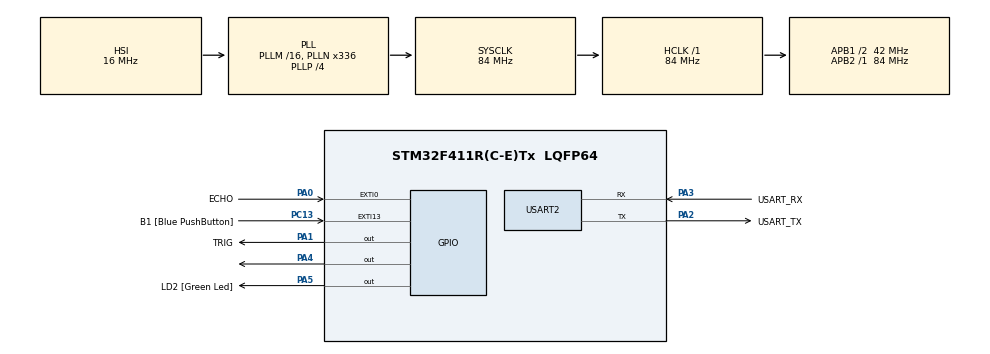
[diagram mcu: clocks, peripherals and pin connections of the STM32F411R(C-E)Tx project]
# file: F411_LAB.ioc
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FREERTOS.Mutexes01=myMutex01,Dynamic,NULL,Available
FREERTOS.Tasks01=defaultTask,24,128,StartDefaultTask,Default,NULL,Dynamic,NULL,NULL;myTask02,17,256,StartUltrasonicTask,Default,NULL,Dynamic,NULL,NULL;myTask03,25,256,StartDhtTask,Default,NULL,Dynamic,NULL,NULL
FREERTOS.configTOTAL_HEAP_SIZE=16384
Mcu.Family=STM32F4
Mcu.Name=STM32F411R(C-E)Tx
Mcu.Package=LQFP64
NVIC.EXTI0_IRQn=true\:5\:0\:false\:false\:true\:true\:true\:true\:true
NVIC.EXTI15_10_IRQn=true\:5\:0\:false\:false\:true\:true\:true\:true\:true
NVIC.PriorityGroup=NVIC_PRIORITYGROUP_4
PA0-WKUP.GPIO_Label=ECHO
PA0-WKUP.GPIO_ModeDefaultEXTI=GPIO_MODE_IT_RISING_FALLING
PA0-WKUP.Signal=GPXTI0
PA1.GPIO_Label=TRIG
PA1.Signal=GPIO_Output
PA13.GPIO_Label=TMS
PA13.Mode=Trace_Asynchronous_SW
PA13.Signal=SYS_JTMS-SWDIO
PA14.GPIO_Label=TCK
PA14.Mode=Trace_Asynchronous_SW
PA14.Signal=SYS_JTCK-SWCLK
PA2.GPIO_Label=USART_TX
PA2.Mode=Asynchronous
PA2.Signal=USART2_TX
PA3.GPIO_Label=USART_RX
PA3.Mode=Asynchronous
PA3.Signal=USART2_RX
PA4.Signal=GPIO_Output
PA5.GPIO_Label=LD2 [Green Led]
PA5.Signal=GPIO_Output
PB3.GPIO_Label=SWO
PB3.Mode=Trace_Asynchronous_SW
PB3.Signal=SYS_JTDO-SWO
PC13-ANTI_TAMP.GPIO_Label=B1 [Blue PushButton]
PC13-ANTI_TAMP.GPIO_ModeDefaultEXTI=GPIO_MODE_IT_FALLING
PC13-ANTI_TAMP.Signal=GPXTI13
PC14-OSC32_IN.Signal=RCC_OSC32_IN
PC15-OSC32_OUT.Signal=RCC_OSC32_OUT
PH0\ -\ OSC_IN.Signal=RCC_OSC_IN
PH1\ -\ OSC_OUT.Signal=RCC_OSC_OUT
ProjectManager.HeapSize=0x200
ProjectManager.StackSize=0x400
ProjectManager.TargetToolchain=STM32CubeIDE
RCC.48MHZClocksFreq_Value=84000000
RCC.AHBFreq_Value=84000000
RCC.APB1CLKDivider=RCC_HCLK_DIV2
RCC.APB1Freq_Value=42000000
RCC.APB1TimFreq_Value=84000000
RCC.APB2Freq_Value=84000000
RCC.APB2TimFreq_Value=84000000
RCC.CortexFreq_Value=84000000
RCC.FLatency-AdvancedSettings=FLASH_LATENCY_2
RCC.HCLKFreq_Value=84000000
RCC.HSE_VALUE=8000000
RCC.HSI_VALUE=16000000
RCC.LSE_VALUE=32768
RCC.PLLN=336
RCC.PLLP=RCC_PLLP_DIV4
RCC.SYSCLKFreq_VALUE=84000000
RCC.SYSCLKSource=RCC_SYSCLKSOURCE_PLLCLK
RCC.VCOOutputFreq_Value=336000000
TIM1.AutoReloadPreload=TIM_AUTORELOAD_PRELOAD_ENABLE
TIM1.Prescaler=84-1
USART2.VirtualMode=VM_ASYNC
VP_FREERTOS_VS_CMSIS_V2.Mode=CMSIS_V2
VP_TIM1_VS_ClockSourceINT.Mode=Internal
board=NUCLEO-F411RE

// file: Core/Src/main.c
/* USER CODE BEGIN Header */
/**
  ******************************************************************************
  * @file           : main.c
  * @brief          : Main program body
  ******************************************************************************
  * @attention
  *
  * Copyright (c) 2026 STMicroelectronics.
  * All rights reserved.
  *
  * This software is licensed under terms that can be found in the LICENSE file
  * in the root directory of this software component.
  * If no LICENSE file comes with this software, it is provided AS-IS.
  *
  ******************************************************************************
  */
/* USER CODE END Header */
#include "main.h"
#include "cmsis_os.h"

/* USER CODE BEGIN Includes */
#include <stdio.h>
#include <string.h>
#include "ultrasonic.h"
#include "dht.h"

/* USER CODE END Includes */

/* USER CODE BEGIN PTD */
typedef struct {
    uint8_t temperature;
    uint8_t humidity;
    uint8_t temp_decimal;
    uint8_t hum_decimal;
    uint8_t checksum;
} DHT11_Data;
/* USER CODE END PTD */

/* USER CODE BEGIN PD */
#define DHT11_PORT GPIOA
#define DHT11_PIN GPIO_PIN_4   // A2 = PA4 (A0 = ECHO, A1 = TRIG)
/* USER CODE END PD */

TIM_HandleTypeDef htim1;

UART_HandleTypeDef huart2;

/* Definitions for defaultTask */
osThreadId_t defaultTaskHandle;
const osThreadAttr_t defaultTask_attributes = {
  .name = "defaultTask",
  .stack_size = 128 * 4,
  .priority = (osPriority_t) osPriorityNormal,
};
/* Definitions for myTask02 */
osThreadId_t myTask02Handle;
const osThreadAttr_t myTask02_attributes = {
  .name = "myTask02",
  .stack_size = 256 * 4,
  .priority = (osPriority_t) osPriorityBelowNormal1,
};
/* Definitions for myTask03 */
osThreadId_t myTask03Handle;
const osThreadAttr_t myTask03_attributes = {
  .name = "myTask03",
  .stack_size = 256 * 4,
  .priority = (osPriority_t) osPriorityNormal1,
};
/* Definitions for myMutex01 */
osMutexId_t myMutex01Handle;
const osMutexAttr_t myMutex01_attributes = {
  .name = "myMutex01"
};
/* USER CODE BEGIN PV */
DHT11_Data dht11_data;
char uart_buffer[100];  // uart_buffer 변수 선언 추가
uint8_t dht11_bit_timeout;  // 비트 읽는 중 타임아웃 발생 여부
/* USER CODE END PV */

void SystemClock_Config(void);
static void MX_GPIO_Init(void);
static void MX_TIM1_Init(void);
static void MX_USART2_UART_Init(void);
void StartDefaultTask(void *argument);
void StartUltrasonicTask(void *argument);
void StartDhtTask(void *argument);

/* USER CODE BEGIN PFP */
void DHT11_SetPinOutput(void);
void DHT11_SetPinInput(void);
void DHT11_SetPin(GPIO_PinState state);
GPIO_PinState DHT11_ReadPin(void);
void DHT11_DelayUs(uint32_t us);
uint8_t DHT11_Start(void);
uint8_t DHT11_ReadBit(void);
uint8_t DHT11_ReadByte(void);
uint8_t DHT11_ReadData(DHT11_Data *data);
uint16_t Sensor_SoundSpeedX10(int16_t temperature_c_x10, uint16_t humidity_rh_x10);
/* USER CODE END PFP */

/* USER CODE BEGIN 0 */
#ifdef __GNUC__
#define PUTCHAR_PROTOTYPE int __io_putchar(int ch)
#else
#define PUTCHAR_PROTOTYPE int fputc(int ch, FILE *f)
#endif /* __GNUC__ */

PUTCHAR_PROTOTYPE
{
  if (ch == '\n')
    HAL_UART_Transmit (&huart2, (uint8_t*) "\r", 1, 0xFFFF);
  HAL_UART_Transmit (&huart2, (uint8_t*) &ch, 1, 0xFFFF);
  return ch;
}

// DHT11 함수 구현 (수정된 버전)
void DHT11_SetPinOutput(void) {
    GPIO_InitTypeDef GPIO_InitStruct = {0};
    GPIO_InitStruct.Pin = DHT11_PIN;
    GPIO_InitStruct.Mode = GPIO_MODE_OUTPUT_PP;
    GPIO_InitStruct.Pull = GPIO_NOPULL;
    GPIO_InitStruct.Speed = GPIO_SPEED_FREQ_HIGH;
    HAL_GPIO_Init(DHT11_PORT, &GPIO_InitStruct);
}

void DHT11_SetPinInput(void) {
    GPIO_InitTypeDef GPIO_InitStruct = {0};
    GPIO_InitStruct.Pin = DHT11_PIN;
    GPIO_InitStruct.Mode = GPIO_MODE_INPUT;
    GPIO_InitStruct.Pull = GPIO_PULLUP;  // 내부 풀업 저항 사용
    HAL_GPIO_Init(DHT11_PORT, &GPIO_InitStruct);
}

void DHT11_SetPin(GPIO_PinState state) {
    HAL_GPIO_WritePin(DHT11_PORT, DHT11_PIN, state);
}

GPIO_PinState DHT11_ReadPin(void) {
    return HAL_GPIO_ReadPin(DHT11_PORT, DHT11_PIN);
}

void DHT11_DelayUs(uint32_t us) {
    __HAL_TIM_SET_COUNTER(&htim1, 0);   // TIM1 : 1 tick = 1 us
    while (__HAL_TIM_GET_COUNTER(&htim1) < us);
}

// 수정된 DHT11_Start() 함수
uint8_t DHT11_Start(void) {
    uint32_t timeout;

    // 1. 출력 모드로 설정하고 HIGH로 초기화
    DHT11_SetPinOutput();
    DHT11_SetPin(GPIO_PIN_SET);
    HAL_Delay(1);  // 안정화 시간

    // 2. 시작 신호 전송 (최소 18ms LOW)
    DHT11_SetPin(GPIO_PIN_RESET);
    HAL_Delay(20);  // 20ms LOW

    // 3. 20-40us HIGH 신호
    DHT11_SetPin(GPIO_PIN_SET);
    DHT11_DelayUs(30);

    // 4. 입력 모드로 변경
    DHT11_SetPinInput();

    // 5. DHT11 응답 대기 (80us LOW)
    timeout = 1000;  // 타임아웃 증가
    while (DHT11_ReadPin() && --timeout) {
        DHT11_DelayUs(1);
    }
    if (timeout == 0) {
        sprintf(uart_buffer, "DHT11 Start: No LOW response\r\n");
        HAL_UART_Transmit(&huart2, (uint8_t*)uart_buffer, strlen(uart_buffer), HAL_MAX_DELAY);
        return 0;
    }

    // 6. 80us HIGH 대기
    timeout = 1000;
    while (!(DHT11_ReadPin()) && --timeout) {
        DHT11_DelayUs(1);
    }
    if (timeout == 0) {
        sprintf(uart_buffer, "DHT11 Start: No HIGH response\r\n");
        HAL_UART_Transmit(&huart2, (uint8_t*)uart_buffer, strlen(uart_buffer), HAL_MAX_DELAY);
        return 0;
    }

    // 7. HIGH가 끝날 때까지 대기
    timeout = 1000;
    while (DHT11_ReadPin() && --timeout) {
        DHT11_DelayUs(1);
    }

    return 1;  // 성공
}

// 수정된 DHT11_ReadBit() 함수
uint8_t DHT11_ReadBit(void) {
    uint32_t timeout;

    // 1. LOW 신호가 끝날 때까지 대기 (약 50us)
    timeout = 1000;
    while (!(DHT11_ReadPin()) && --timeout) {
        DHT11_DelayUs(1);
    }
    if (timeout == 0) {
        dht11_bit_timeout = 1;  // LOW 가 끝나지 않음 → 선이 LOW 에 붙어 있음
        return 0;
    }

    // 2. HIGH 신호 지속 시간 측정
    DHT11_DelayUs(30);  // 30us 후에 확인
    uint8_t bit = DHT11_ReadPin();

    // 3. HIGH가 끝날 때까지 대기
    timeout = 1000;
    while (DHT11_ReadPin() && --timeout) {
        DHT11_DelayUs(1);
    }

    return bit;
}

uint8_t DHT11_ReadByte(void) {
    uint8_t byte = 0;
    for (int i = 0; i < 8; i++) {
        byte = (byte << 1) | DHT11_ReadBit();
    }
    return byte;
}

uint8_t DHT11_ReadData(DHT11_Data *data) {
    // DHT11 시작 신호 전송
    if (!DHT11_Start()) {
        return 0; // 시작 신호 실패
    }

    // 5바이트 데이터 읽기
    dht11_bit_timeout = 0;
    data->humidity = DHT11_ReadByte();
    data->hum_decimal = DHT11_ReadByte();
    data->temperature = DHT11_ReadByte();
    data->temp_decimal = DHT11_ReadByte();
    data->checksum = DHT11_ReadByte();

    // 디버그 출력
    sprintf(uart_buffer, "Raw data: %d, %d, %d, %d, %d\r\n",
            data->humidity, data->hum_decimal, data->temperature, data->temp_decimal, data->checksum);
    HAL_UART_Transmit(&huart2, (uint8_t*)uart_buffer, strlen(uart_buffer), HAL_MAX_DELAY);

    // 비트 타임아웃이 있었으면 0 이 체크섬을 통과해도 실패 처리
    if (dht11_bit_timeout) {
        sprintf(uart_buffer, "DHT11 Bit timeout: DATA line stuck LOW\r\n");
        HAL_UART_Transmit(&huart2, (uint8_t*)uart_buffer, strlen(uart_buffer), HAL_MAX_DELAY);
        return 0;
    }

    // 체크섬 확인
    uint8_t calculated_checksum = data->humidity + data->hum_decimal +
                                 data->temperature + data->temp_decimal;

    if (calculated_checksum == data->checksum) {
        return 1; // 성공
    } else {
        sprintf(uart_buffer, "Checksum error: calc=%d, recv=%d\r\n",
                calculated_checksum, data->checksum);
        HAL_UART_Transmit(&huart2, (uint8_t*)uart_buffer, strlen(uart_buffer), HAL_MAX_DELAY);
        return 0; // 체크섬 오류
    }
}

// 온도 / 습도로 음속 계산 (단위 : 0.1 m/s)
// c ≈ 331.3 + 0.606 × T(°C) + 0.0124 × RH(%)  [m/s]
// 입력이 ×10 단위이므로 : c_x10 = 3313 + 0.606 × T_x10 + 0.0124 × RH_x10
uint16_t Sensor_SoundSpeedX10(int16_t temperature_c_x10, uint16_t humidity_rh_x10)
{
  int32_t speed_x10 = 3313
                    + ((int32_t)temperature_c_x10 * 606) / 1000
                    + ((int32_t)humidity_rh_x10 * 124) / 10000;

  return (uint16_t)speed_x10;   // 범위 검사(250.0 ~ 400.0 m/s)는 Ultrasonic_SetSoundSpeedX10() 에서 함
}
/* USER CODE END 0 */

int main(void)
{

  /* MCU Configuration--------------------------------------------------------*/

  /* Reset of all peripherals, Initializes the Flash interface and the Systick. */
  HAL_Init();

  /* Configure the system clock */
  SystemClock_Config();

  /* Initialize all configured peripherals */
  MX_GPIO_Init();
  MX_TIM1_Init();
  MX_USART2_UART_Init();
  /* USER CODE BEGIN 2 */
  // DHT11 핀 초기 설정
  DHT11_SetPinOutput();
  DHT11_SetPin(GPIO_PIN_SET);  // 초기에 HIGH로 설정
  HAL_Delay(1000);  // DHT11 안정화 시간

  // 초음파 / DHT11 모듈 초기화 (Ultrasonic_Init 안에서 TIM1 시작 → 여기서 따로 시작하면 HAL_ERROR)
  Ultrasonic_Init();
  Dht_Init();

  // UART 초기화 메시지
  sprintf(uart_buffer, "DHT11 Temperature & Humidity Sensor Test\r\n");
  HAL_UART_Transmit(&huart2, (uint8_t*)uart_buffer, strlen(uart_buffer), HAL_MAX_DELAY);

  /* USER CODE END 2 */

  /* Init scheduler */
  osKernelInitialize();
  /* Create the mutex(es) */
  /* creation of myMutex01 */
  myMutex01Handle = osMutexNew(&myMutex01_attributes);

  /* Create the thread(s) */
  /* creation of defaultTask */
  defaultTaskHandle = osThreadNew(StartDefaultTask, NULL, &defaultTask_attributes);

  /* creation of myTask02 */
  myTask02Handle = osThreadNew(StartUltrasonicTask, NULL, &myTask02_attributes);

  /* creation of myTask03 */
  myTask03Handle = osThreadNew(StartDhtTask, NULL, &myTask03_attributes);

  /* Start scheduler */
  osKernelStart();

  /* We should never get here as control is now taken by the scheduler */

  /* Infinite loop */
  while (1)
  {

    /* USER CODE BEGIN 3 */
    if (DHT11_ReadData(&dht11_data)) {
      // 데이터 읽기 성공
      sprintf(uart_buffer, "Temperature: %d°C, Humidity: %d%%\r\n",
              dht11_data.temperature, dht11_data.humidity);
      HAL_UART_Transmit(&huart2, (uint8_t*)uart_buffer, strlen(uart_buffer), HAL_MAX_DELAY);
    } else {
      // 데이터 읽기 실패
      sprintf(uart_buffer, "DHT11 Read Error!\r\n");
      HAL_UART_Transmit(&huart2, (uint8_t*)uart_buffer, strlen(uart_buffer), HAL_MAX_DELAY);
    }

    // 2초 대기 (DHT11은 최소 2초 간격으로 읽어야 함)
    HAL_Delay(2000);
  }
  /* USER CODE END 3 */
}

void SystemClock_Config(void)
{
  RCC_OscInitTypeDef RCC_OscInitStruct = {0};
  RCC_ClkInitTypeDef RCC_ClkInitStruct = {0};

  /** Configure the main internal regulator output voltage
  */
  __HAL_RCC_PWR_CLK_ENABLE();
  __HAL_PWR_VOLTAGESCALING_CONFIG(PWR_REGULATOR_VOLTAGE_SCALE1);

  /** Initializes the RCC Oscillators according to the specified parameters
  * in the RCC_OscInitTypeDef structure.
  */
  RCC_OscInitStruct.OscillatorType = RCC_OSCILLATORTYPE_HSI;
  RCC_OscInitStruct.HSIState = RCC_HSI_ON;
  RCC_OscInitStruct.HSICalibrationValue = RCC_HSICALIBRATION_DEFAULT;
  RCC_OscInitStruct.PLL.PLLState = RCC_PLL_ON;
  RCC_OscInitStruct.PLL.PLLSource = RCC_PLLSOURCE_HSI;
  RCC_OscInitStruct.PLL.PLLM = 16;
  RCC_OscInitStruct.PLL.PLLN = 336;
  RCC_OscInitStruct.PLL.PLLP = RCC_PLLP_DIV4;
  RCC_OscInitStruct.PLL.PLLQ = 4;
  if (HAL_RCC_OscConfig(&RCC_OscInitStruct) != HAL_OK)
  {
    Error_Handler();
  }

  /** Initializes the CPU, AHB and APB buses clocks
  */
  RCC_ClkInitStruct.ClockType = RCC_CLOCKTYPE_HCLK|RCC_CLOCKTYPE_SYSCLK
                              |RCC_CLOCKTYPE_PCLK1|RCC_CLOCKTYPE_PCLK2;
  RCC_ClkInitStruct.SYSCLKSource = RCC_SYSCLKSOURCE_PLLCLK;
  RCC_ClkInitStruct.AHBCLKDivider = RCC_SYSCLK_DIV1;
  RCC_ClkInitStruct.APB1CLKDivider = RCC_HCLK_DIV2;
  RCC_ClkInitStruct.APB2CLKDivider = RCC_HCLK_DIV1;

  if (HAL_RCC_ClockConfig(&RCC_ClkInitStruct, FLASH_LATENCY_2) != HAL_OK)
  {
    Error_Handler();
  }
}

static void MX_TIM1_Init(void)
{

  TIM_ClockConfigTypeDef sClockSourceConfig = {0};
  TIM_MasterConfigTypeDef sMasterConfig = {0};

  htim1.Instance = TIM1;
  htim1.Init.Prescaler = 84-1;
  htim1.Init.CounterMode = TIM_COUNTERMODE_UP;
  htim1.Init.Period = 65535;
  htim1.Init.ClockDivision = TIM_CLOCKDIVISION_DIV1;
  htim1.Init.RepetitionCounter = 0;
  htim1.Init.AutoReloadPreload = TIM_AUTORELOAD_PRELOAD_ENABLE;
  if (HAL_TIM_Base_Init(&htim1) != HAL_OK)
  {
    Error_Handler();
  }
  sClockSourceConfig.ClockSource = TIM_CLOCKSOURCE_INTERNAL;
  if (HAL_TIM_ConfigClockSource(&htim1, &sClockSourceConfig) != HAL_OK)
  {
    Error_Handler();
  }
  sMasterConfig.MasterOutputTrigger = TIM_TRGO_RESET;
  sMasterConfig.MasterSlaveMode = TIM_MASTERSLAVEMODE_DISABLE;
  if (HAL_TIMEx_MasterConfigSynchronization(&htim1, &sMasterConfig) != HAL_OK)
  {
    Error_Handler();
  }

}

static void MX_USART2_UART_Init(void)
{

  huart2.Instance = USART2;
  huart2.Init.BaudRate = 115200;
  huart2.Init.WordLength = UART_WORDLENGTH_8B;
  huart2.Init.StopBits = UART_STOPBITS_1;
  huart2.Init.Parity = UART_PARITY_NONE;
  huart2.Init.Mode = UART_MODE_TX_RX;
  huart2.Init.HwFlowCtl = UART_HWCONTROL_NONE;
  huart2.Init.OverSampling = UART_OVERSAMPLING_16;
  if (HAL_UART_Init(&huart2) != HAL_OK)
  {
    Error_Handler();
  }

}

static void MX_GPIO_Init(void)
{
  GPIO_InitTypeDef GPIO_InitStruct = {0};

  /* GPIO Ports Clock Enable */
  __HAL_RCC_GPIOC_CLK_ENABLE();
  __HAL_RCC_GPIOH_CLK_ENABLE();
  __HAL_RCC_GPIOA_CLK_ENABLE();
  __HAL_RCC_GPIOB_CLK_ENABLE();

  /*Configure GPIO pin Output Level */
  HAL_GPIO_WritePin(GPIOA, TRIG_Pin|GPIO_PIN_4|LD2_Pin, GPIO_PIN_RESET);

  /*Configure GPIO pin : B1_Pin */
  GPIO_InitStruct.Pin = B1_Pin;
  GPIO_InitStruct.Mode = GPIO_MODE_IT_FALLING;
  GPIO_InitStruct.Pull = GPIO_NOPULL;
  HAL_GPIO_Init(B1_GPIO_Port, &GPIO_InitStruct);

  /*Configure GPIO pin : ECHO_Pin */
  GPIO_InitStruct.Pin = ECHO_Pin;
  GPIO_InitStruct.Mode = GPIO_MODE_IT_RISING_FALLING;
  GPIO_InitStruct.Pull = GPIO_NOPULL;
  HAL_GPIO_Init(ECHO_GPIO_Port, &GPIO_InitStruct);

  /*Configure GPIO pins : TRIG_Pin PA4 LD2_Pin */
  GPIO_InitStruct.Pin = TRIG_Pin|GPIO_PIN_4|LD2_Pin;
  GPIO_InitStruct.Mode = GPIO_MODE_OUTPUT_PP;
  GPIO_InitStruct.Pull = GPIO_NOPULL;
  GPIO_InitStruct.Speed = GPIO_SPEED_FREQ_LOW;
  HAL_GPIO_Init(GPIOA, &GPIO_InitStruct);

  /* EXTI interrupt init*/
  HAL_NVIC_SetPriority(EXTI0_IRQn, 5, 0);
  HAL_NVIC_EnableIRQ(EXTI0_IRQn);

  HAL_NVIC_SetPriority(EXTI15_10_IRQn, 5, 0);
  HAL_NVIC_EnableIRQ(EXTI15_10_IRQn);

}

/* USER CODE BEGIN 4 */
void HAL_GPIO_EXTI_Callback(uint16_t GPIO_Pin)
{
  if (GPIO_Pin == ECHO_Pin)
  {
    Ultrasonic_OnEchoEdge();
  }
  else if (GPIO_Pin == B1_Pin)
  {
    HAL_GPIO_TogglePin(LD2_GPIO_Port, LD2_Pin);
  }
}
/* USER CODE END 4 */

void StartDefaultTask(void *argument)
{
  for(;;)
  {
    osDelay(1);
  }
}

void StartUltrasonicTask(void *argument)
{
  /* USER CODE BEGIN StartUltrasonicTask */
  Ultrasonic_Result result;
  char line[80];

  for(;;)
  {
    Ultrasonic_Task();

    if (Ultrasonic_GetResult(&result) != 0U)
    {
      (void)snprintf(line, sizeof(line), "D,%lu,%u,%u,%lu\n",
                     (unsigned long)result.timestamp_ms,
                     (unsigned int)result.distance_mm,
                     (unsigned int)result.valid,
                     (unsigned long)result.errors);

      (void)osMutexAcquire(myMutex01Handle, osWaitForever);
      printf("%s", line);
      printf("C,%u\n", (unsigned int)Ultrasonic_GetLastEchoTicks());
      (void)osMutexRelease(myMutex01Handle);
    }

    osDelay(10);
  }
  /* USER CODE END StartUltrasonicTask */
}

void StartDhtTask(void *argument)
{
  /* USER CODE BEGIN StartDhtTask */
  Dht_Result dht;
  char line[96];
  int32_t temperature;
  uint16_t speed_x10;

  for(;;)
  {
    Dht_Task();

    if (Dht_GetResult(&dht) != 0U)
    {
      temperature = (int32_t)dht.temperature_c_x10;
      (void)snprintf(line, sizeof(line), "TH,%lu,%d,%u,%u,%lu\n",
                     (unsigned long)dht.timestamp_ms,
                     (int)temperature,
                     (unsigned int)dht.humidity_rh_x10,
                     (unsigned int)dht.valid,
                     (unsigned long)dht.errors);

      (void)osMutexAcquire(myMutex01Handle, osWaitForever);
      printf("%s", line);
      printf("ENV,%c%u.%uC,%u.%u%%RH\n",
             (temperature < 0) ? '-' : '+',
             (unsigned int)((temperature < 0) ? -temperature : temperature) / 10U,
             (unsigned int)((temperature < 0) ? -temperature : temperature) % 10U,
             (unsigned int)dht.humidity_rh_x10 / 10U,
             (unsigned int)dht.humidity_rh_x10 % 10U);

      if (dht.valid != 0U)
      {
        speed_x10 = Sensor_SoundSpeedX10(dht.temperature_c_x10,
                                         dht.humidity_rh_x10);
        Ultrasonic_SetSoundSpeedX10(speed_x10);
        printf("S,%u\n", (unsigned int)speed_x10);
      }
      (void)osMutexRelease(myMutex01Handle);
    }

    osDelay(100);
  }
  /* USER CODE END StartDhtTask */
}

void Error_Handler(void)
{
  __disable_irq();
  while (1)
  {
  }
}
